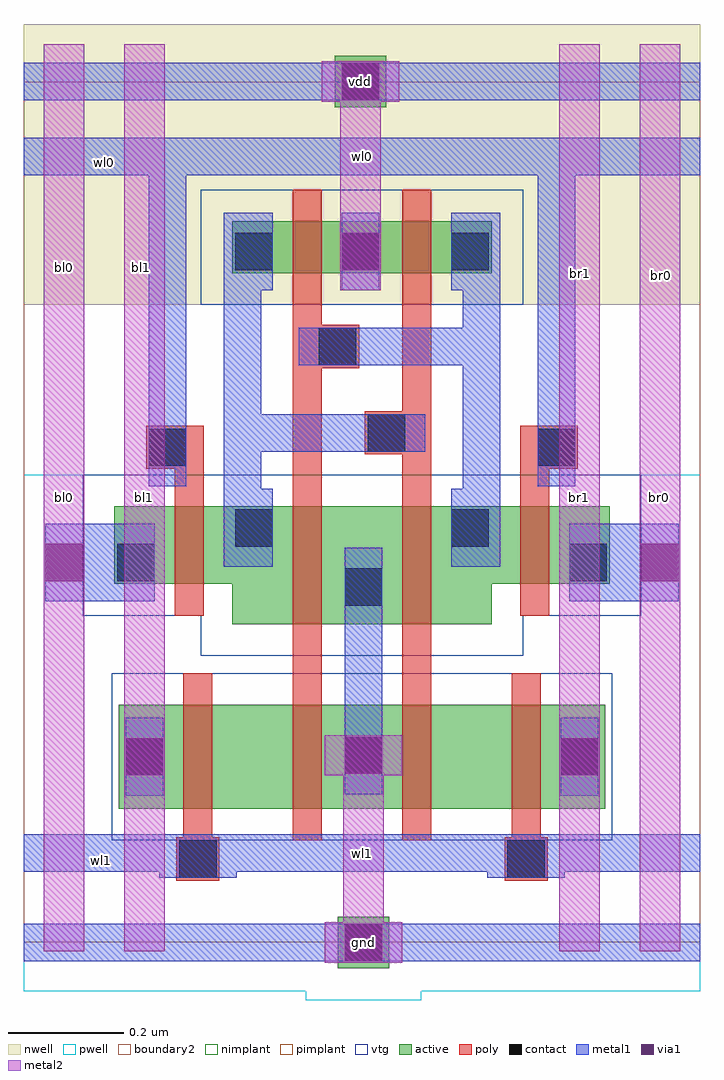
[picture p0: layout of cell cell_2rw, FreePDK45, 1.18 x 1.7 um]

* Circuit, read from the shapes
.subckt cell_2rw bl0 bl1 br0 br1 gnd vdd wl0 wl1
M1 n1 wl0 bl0 gnd nfet w=0.135u l=0.05u
M2 n2 wl1 bl1 gnd nfet w=0.18u l=0.05u
M3 gnd n3 n2 gnd nfet w=0.18u l=0.05u
M4 gnd n3 n1 gnd nfet w=0.205u l=0.05u
M5 n4 n1 gnd gnd nfet w=0.18u l=0.05u
M6 n3 n1 gnd gnd nfet w=0.205u l=0.05u
M7 br1 wl1 n4 gnd nfet w=0.18u l=0.05u
M8 br0 wl0 n3 gnd nfet w=0.135u l=0.05u
M9 vdd n3 n1 vdd pfet w=0.09u l=0.05u
M10 n3 n1 vdd vdd pfet w=0.09u l=0.05u
.ends

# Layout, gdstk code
import gdstk
lib = gdstk.Library(unit=1e-6, precision=5e-10)
def R(c, l, rs):  # rectangles x0, y0, x1, y1
    for r in rs: c.add(gdstk.rectangle(r[:2], r[2:], *l))
def A(c, l, x, y, w, h, nx, ny, dx, dy):  # array of equal rectangles
    R(c, l, [(x+i*dx, y+j*dy, x+i*dx+w, y+j*dy+h) for i in range(nx) for j in range(ny)])
active = (1, 0)
pwell = (2, 0)
nwell = (3, 0)
nimplant = (4, 0)
pimplant = (5, 0)
vtg = (6, 0)
poly = (9, 0)
contact = (10, 0)
metal1 = (11, 0)
via1 = (12, 0)
metal2 = (13, 0)
boundary2 = (239, 0)

cell_2rw = lib.new_cell('cell_2rw')
R(cell_2rw, active, [(0.545,-0.045,0.635,0.045), (0.165,0.2325,0.22,0.4125), (0.2075,0.2325,0.2775,0.4125), (0.2075,0.2325,0.3975,0.4125), (0.3275,0.2325,0.3975,0.4125), (0.3975,0.2325,0.4675,0.4125), (0.3975,0.2325,0.5875,0.4125), (0.5175,0.2325,0.5875,0.4125), (0.5525,0.2325,0.6275,0.4125), (0.5525,0.2325,0.6275,0.4125), (0.5525,0.2325,0.7775,0.4125), (0.7075,0.2325,0.7775,0.4125), (0.7775,0.2325,0.8475,0.4125), (0.7775,0.2325,0.9675,0.4125), (0.8975,0.2325,0.9675,0.4125), (0.955,0.2325,1.01,0.4125), (0.165,0.2775,0.255,0.3675), (0.92,0.2775,1.01,0.3675), (0.5525,0.2875,0.6275,0.3625), (0.3625,0.5525,0.4375,0.7575), (0.3625,0.5525,0.4375,0.7575), (0.3625,0.5525,0.5875,0.7575), (0.5175,0.5525,0.5875,0.7575), (0.5875,0.5525,0.6575,0.7575), (0.5875,0.5525,0.8125,0.7575), (0.7375,0.5525,0.8125,0.7575), (0.7375,0.5525,0.8125,0.7575), (0.545,0.5725,0.635,0.6625), (0.1575,0.6225,0.2325,0.6975), (0.1575,0.6225,0.2325,0.7575), (0.1575,0.6225,0.2325,0.7575), (0.1575,0.6225,0.3825,0.7575), (0.3125,0.6225,0.3825,0.7575), (0.7925,0.6225,0.8625,0.7575), (0.7925,0.6225,1.0175,0.7575), (0.9425,0.6225,1.0175,0.6975), (0.9425,0.6225,1.0175,0.7575), (0.9425,0.6225,1.0175,0.7575), (0.3625,0.6825,0.4375,0.7575), (0.7375,0.6825,0.8125,0.7575), (0.3625,1.1625,0.4375,1.2375), (0.3625,1.1625,0.4375,1.2525), (0.3625,1.1625,0.4375,1.2525), (0.3625,1.1625,0.6225,1.2525), (0.5475,1.1625,0.6225,1.2375), (0.5475,1.1625,0.6225,1.2525), (0.5475,1.1625,0.6225,1.2525), (0.5875,1.1625,0.6575,1.2525), (0.5875,1.1625,0.8125,1.2525), (0.7375,1.1625,0.8125,1.2375), (0.7375,1.1625,0.8125,1.2525), (0.7375,1.1625,0.8125,1.2525), (0.54,1.45,0.63,1.54)])
R(cell_2rw, pwell, [(0.49,-0.1,0.69,0.1), (0,-0.085,1.175,0.8125), (0.1525,0.1775,0.4525,0.4675), (0.3425,0.1775,0.6425,0.4675), (0.4975,0.1775,0.8325,0.4675), (0.7225,0.1775,1.0225,0.4675), (0.3075,0.4975,0.6425,0.8125), (0.5325,0.4975,0.8675,0.8125), (0.1025,0.5675,0.4375,0.8125), (0.7375,0.5675,1.0725,0.8125)])
R(cell_2rw, nwell, [(0,1.1075,1.175,1.595), (0.3075,1.1075,0.6775,1.3075), (0.5325,1.1075,0.8675,1.3075), (0.485,1.395,0.685,1.595)])
R(cell_2rw, nimplant, [(0.165,0.2325,0.22,0.4125), (0.2075,0.2325,0.3975,0.4125), (0.3975,0.2325,0.5875,0.4125), (0.5525,0.2325,0.7775,0.4125), (0.7775,0.2325,0.9675,0.4125), (0.955,0.2325,1.01,0.4125), (0.165,0.2775,0.255,0.3675), (0.92,0.2775,1.01,0.3675), (0.3625,0.5525,0.5875,0.7575), (0.5875,0.5525,0.8125,0.7575), (0.545,0.5725,0.635,0.6625), (0.1575,0.6225,0.3825,0.7575), (0.7925,0.6225,1.0175,0.7575), (0.54,1.45,0.63,1.54)])
R(cell_2rw, pimplant, [(0.545,-0.045,0.635,0.045), (0.3625,1.1625,0.6225,1.2525), (0.5875,1.1625,0.8125,1.2525)])
R(cell_2rw, vtg, [(0.1525,0.1775,0.4525,0.4675), (0.3425,0.1775,0.6425,0.4675), (0.4975,0.1775,0.8325,0.4675), (0.7225,0.1775,1.0225,0.4675), (0.3075,0.4975,0.6425,0.8125), (0.5325,0.4975,0.8675,0.8125), (0.1025,0.5675,0.4375,0.8125), (0.7375,0.5675,1.0725,0.8125), (0.3075,1.1075,0.6775,1.3075), (0.5325,1.1075,0.8675,1.3075)])
A(cell_2rw, poly, 0.2775, 0.1775, 0.05, 0.055, 4, 2, 0.19, 0.235)
A(cell_2rw, poly, 0.2775, 0.1775, 0.05, 0.29, 4, 1, 0.19, 0)
R(cell_2rw, poly, [(0.265,0.1075,0.34,0.1825), (0.835,0.1075,0.91,0.1825), (0.6575,0.44,0.7075,0.525), (0.4675,0.45,0.5175,0.525), (0.4675,0.4975,0.5175,0.8125), (0.4675,0.4975,0.5175,0.5525), (0.6575,0.4975,0.7075,0.8125), (0.6575,0.4975,0.7075,0.5525), (0.2625,0.5675,0.3125,0.6225), (0.2625,0.5675,0.3125,0.8125), (0.8625,0.5675,0.9125,0.6225), (0.8625,0.5675,0.9125,0.8125), (0.4675,0.7225,0.5175,1.135), (0.6575,0.7225,0.7075,1.135), (0.2625,0.7575,0.3125,0.8125), (0.4675,0.7575,0.5175,0.8125), (0.6575,0.7575,0.7075,0.8125), (0.8625,0.7575,0.9125,0.8125), (0.2625,0.8,0.3125,0.8975), (0.8625,0.8,0.9125,0.8975), (0.2125,0.8225,0.2875,0.8975), (0.8875,0.8225,0.9625,0.8975), (0.5925,0.8475,0.6675,0.9225), (0.5075,0.9975,0.5825,1.0725), (0.4675,1.1075,0.5175,1.1625), (0.4675,1.1075,0.5175,1.3075), (0.6575,1.1075,0.7075,1.1625), (0.6575,1.1075,0.7075,1.3075), (0.4675,1.2525,0.5175,1.3075), (0.6575,1.2525,0.7075,1.3075)])
R(cell_2rw, contact, [(0.5575,-0.0325,0.6225,0.0325), (0.27,0.1125,0.335,0.1775), (0.84,0.1125,0.905,0.1775), (0.1775,0.29,0.2425,0.355), (0.9325,0.29,0.9975,0.355), (0.5575,0.2925,0.6225,0.3575), (0.5575,0.585,0.6225,0.65), (0.1625,0.6275,0.2275,0.6925), (0.9475,0.6275,1.0125,0.6925), (0.3675,0.6875,0.4325,0.7525), (0.7425,0.6875,0.8075,0.7525), (0.2175,0.8275,0.2825,0.8925), (0.8925,0.8275,0.9575,0.8925), (0.5975,0.8525,0.6625,0.9175), (0.5125,1.0025,0.5775,1.0675), (0.3675,1.1675,0.4325,1.2325), (0.5525,1.1675,0.6175,1.2325), (0.7425,1.1675,0.8075,1.2325), (0.5525,1.4625,0.6175,1.5275)])
R(cell_2rw, metal1, [(0,-0.0325,1.175,0.0325), (0,-0.0325,1.175,0.0325), (0.235,0.1125,0.37,0.1775), (0.805,0.1125,0.94,0.1775), (0,0.1225,1.175,0.1875), (0,0.1225,1.175,0.1875), (0.1775,0.255,0.2425,0.39), (0.1775,0.255,0.2425,0.39), (0.9325,0.255,0.9975,0.39), (0.9325,0.255,0.9975,0.39), (0.5575,0.2575,0.6225,0.615), (0.5575,0.55,0.6225,0.685), (0.0375,0.5925,0.1025,0.7275), (0.0375,0.5925,0.2275,0.7275), (0.1625,0.5925,0.2275,0.7275), (0.9475,0.5925,1.0125,0.7275), (0.9475,0.5925,1.1375,0.7275), (1.0725,0.5925,1.1375,0.7275), (0.3475,0.6525,0.4125,1.2675), (0.3675,0.6525,0.4325,0.7875), (0.7425,0.6525,0.8075,0.7875), (0.7625,0.6525,0.8275,1.2675), (0.2175,0.7925,0.2825,0.9275), (0.8925,0.7925,0.9575,0.9275), (0.3675,0.8525,0.5825,0.9175), (0.5625,0.8525,0.6975,0.9175), (0.2175,0.895,0.2825,1.385), (0.8925,0.895,0.9575,1.385), (0.4775,1.0025,0.6125,1.0675), (0.5925,1.0025,0.8275,1.0675), (0.3675,1.1325,0.4325,1.2675), (0.5525,1.1325,0.6175,1.2675), (0.5525,1.1325,0.6175,1.2675), (0.7425,1.1325,0.8075,1.2675), (0,1.3325,1.175,1.3975), (0,1.3325,1.175,1.3975), (0,1.4625,1.175,1.5275), (0,1.4625,1.175,1.5275)])
R(cell_2rw, via1, [(0.5575,-0.0325,0.6225,0.0325), (0.1775,0.29,0.2425,0.355), (0.9325,0.29,0.9975,0.355), (0.5575,0.2925,0.6225,0.3575), (0.0375,0.6275,0.1025,0.6925), (1.0725,0.6275,1.1375,0.6925), (0.5525,1.1675,0.6175,1.2325), (0.5525,1.4625,0.6175,1.5275)])
R(cell_2rw, metal2, [(0.5225,-0.035,0.6575,0.035), (0.035,-0.015,0.105,1.56), (0.035,-0.015,0.105,1.56), (0.175,-0.015,0.245,1.56), (0.175,-0.015,0.245,1.56), (0.93,-0.015,1,1.56), (0.93,-0.015,1,1.56), (1.07,-0.015,1.14,1.56), (1.07,-0.015,1.14,1.56), (0.555,0.005,0.625,0.29), (0.175,0.255,0.245,0.39), (0.93,0.255,1,0.39), (0.5225,0.29,0.6575,0.36), (0.035,0.5925,0.105,0.7275), (1.07,0.5925,1.14,0.7275), (0.55,1.1325,0.62,1.2675), (1.0875,1.1375,1.1325,1.1725), (0.9525,1.145,0.985,1.175), (0.1925,1.155,0.23,1.18), (0.0475,1.1575,0.09,1.185), (0.55,1.1575,0.62,1.5275), (0.5175,1.46,0.6525,1.53)])
R(cell_2rw, boundary2, [(0,0,1.175,1.495)])
cell_2rw.add(gdstk.Label('gnd', (0.59,0), layer=11, texttype=0))
cell_2rw.add(gdstk.Label('wl1', (0.135,0.1425), layer=11, texttype=0))
cell_2rw.add(gdstk.Label('wl0', (0.14,1.355), layer=11, texttype=0))
cell_2rw.add(gdstk.Label('vdd', (0.585,1.495), layer=11, texttype=0))
cell_2rw.add(gdstk.Label('br0', (1.1075,1.1575), layer=13, texttype=0))
cell_2rw.add(gdstk.Label('br1', (0.9675,1.1625), layer=13, texttype=0))
cell_2rw.add(gdstk.Label('bl1', (0.205,1.1725), layer=13, texttype=0))
cell_2rw.add(gdstk.Label('bl0', (0.07,1.1725), layer=13, texttype=0))
cell_2rw.add(gdstk.Label('bl0', (0.07,0.7725), layer=13, texttype=0))
cell_2rw.add(gdstk.Label('br0', (1.105,0.7725), layer=13, texttype=0))
cell_2rw.add(gdstk.Label('bl1', (0.21,0.7725), layer=13, texttype=0))
cell_2rw.add(gdstk.Label('br1', (0.965,0.7725), layer=13, texttype=0))
cell_2rw.add(gdstk.Label('wl0', (0.5875,1.365), layer=11, texttype=0))
cell_2rw.add(gdstk.Label('wl1', (0.5875,0.155), layer=11, texttype=0))
cell_2rw.add(gdstk.Label('vdd', (0.5875,1.495), layer=11, texttype=0))
cell_2rw.add(gdstk.Label('gnd', (0.5875,0), layer=11, texttype=0))

lib.write_gds('cell_2rw.gds')
